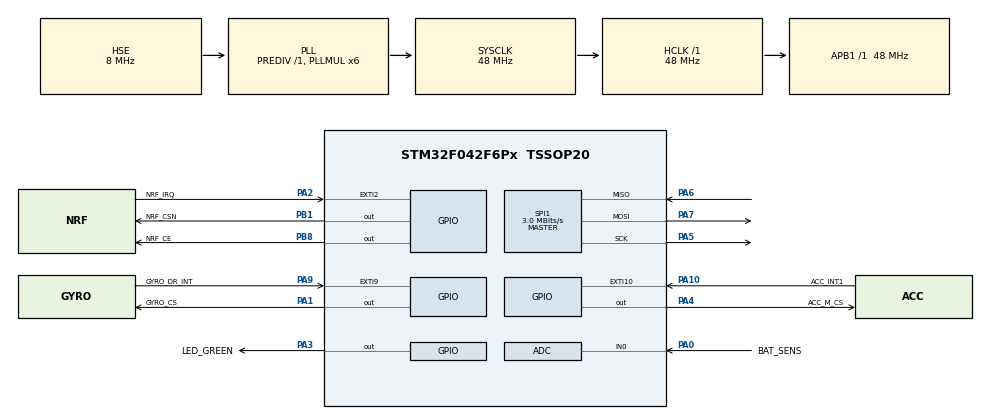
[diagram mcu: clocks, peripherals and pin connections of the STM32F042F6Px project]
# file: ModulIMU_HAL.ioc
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ADC.ClockPrescaler=ADC_CLOCK_ASYNC_DIV1
ADC.ContinuousConvMode=ENABLE
ADC.DMAContinuousRequests=ENABLE
ADC.DataAlign=ADC_DATAALIGN_RIGHT
ADC.DiscontinuousConvMode=DISABLE
ADC.EOCSelection=ADC_EOC_SINGLE_CONV
ADC.EnableAnalogWatchDog=false
ADC.ExternalTrigConvEdge=ADC_EXTERNALTRIGCONVEDGE_NONE
ADC.LowPowerAutoPowerOff=DISABLE
ADC.LowPowerAutoWait=DISABLE
ADC.Overrun=ADC_OVR_DATA_PRESERVED
ADC.Resolution=ADC_RESOLUTION_12B
ADC.SamplingTime=ADC_SAMPLETIME_239CYCLES_5
ADC.ScanConvMode=ADC_SCAN_DIRECTION_FORWARD
Dma.ADC.2.Direction=DMA_PERIPH_TO_MEMORY
Dma.ADC.2.Instance=DMA1_Channel1
Dma.ADC.2.MemDataAlignment=DMA_MDATAALIGN_HALFWORD
Dma.ADC.2.MemInc=DMA_MINC_ENABLE
Dma.ADC.2.Mode=DMA_CIRCULAR
Dma.ADC.2.PeriphDataAlignment=DMA_PDATAALIGN_HALFWORD
Dma.ADC.2.PeriphInc=DMA_PINC_DISABLE
Dma.ADC.2.Priority=DMA_PRIORITY_LOW
Dma.Request0=SPI1_RX
Dma.Request1=SPI1_TX
Dma.Request2=ADC
Dma.SPI1_RX.0.Direction=DMA_PERIPH_TO_MEMORY
Dma.SPI1_RX.0.Instance=DMA1_Channel2
Dma.SPI1_RX.0.MemDataAlignment=DMA_MDATAALIGN_BYTE
Dma.SPI1_RX.0.MemInc=DMA_MINC_ENABLE
Dma.SPI1_RX.0.Mode=DMA_NORMAL
Dma.SPI1_RX.0.PeriphDataAlignment=DMA_PDATAALIGN_BYTE
Dma.SPI1_RX.0.PeriphInc=DMA_PINC_DISABLE
Dma.SPI1_RX.0.Priority=DMA_PRIORITY_LOW
Dma.SPI1_TX.1.Direction=DMA_MEMORY_TO_PERIPH
Dma.SPI1_TX.1.Instance=DMA1_Channel3
Dma.SPI1_TX.1.MemDataAlignment=DMA_MDATAALIGN_BYTE
Dma.SPI1_TX.1.MemInc=DMA_MINC_ENABLE
Dma.SPI1_TX.1.Mode=DMA_NORMAL
Dma.SPI1_TX.1.PeriphDataAlignment=DMA_PDATAALIGN_BYTE
Dma.SPI1_TX.1.PeriphInc=DMA_PINC_DISABLE
Dma.SPI1_TX.1.Priority=DMA_PRIORITY_LOW
Mcu.Family=STM32F0
Mcu.Name=STM32F042F6Px
Mcu.Package=TSSOP20
NVIC.DMA1_Channel1_IRQn=true\:0\:0\:false\:false\:true
NVIC.DMA1_Channel2_3_IRQn=true\:0\:0\:false\:false\:true
NVIC.EXTI2_3_IRQn=true\:0\:0\:false\:false\:true
NVIC.EXTI4_15_IRQn=true\:0\:0\:false\:false\:true
NVIC.TIM17_IRQn=true\:0\:0\:false\:false\:true
PA0.GPIO_Label=BAT_SENS
PA0.Mode=IN0
PA0.Signal=ADC_IN0
PA1.GPIO_Label=GYRO_CS
PA1.GPIO_Speed=GPIO_SPEED_FREQ_HIGH
PA1.Signal=GPIO_Output
PA10.GPIO_Label=ACC_INT1
PA10.Signal=GPXTI10
PA13.Mode=Serial_Wire
PA13.Signal=SYS_SWDIO
PA14.Mode=Serial_Wire
PA14.Signal=SYS_SWCLK
PA2.GPIO_Label=NRF_IRQ
PA2.Signal=GPXTI2
PA3.GPIO_Label=LED_GREEN
PA3.Signal=GPIO_Output
PA4.GPIO_Label=ACC_M_CS
PA4.GPIO_Speed=GPIO_SPEED_FREQ_HIGH
PA4.Signal=GPIO_Output
PA5.Mode=Full_Duplex_Master
PA5.Signal=SPI1_SCK
PA6.Mode=Full_Duplex_Master
PA6.Signal=SPI1_MISO
PA7.Mode=Full_Duplex_Master
PA7.Signal=SPI1_MOSI
PA9.GPIO_Label=GYRO_DR_INT
PA9.Signal=GPXTI9
PB1.GPIO_Label=NRF_CSN
PB1.GPIO_Speed=GPIO_SPEED_FREQ_HIGH
PB1.Signal=GPIO_Output
PB8.GPIO_Label=NRF_CE
PB8.Signal=GPIO_Output
PF0-OSC_IN.Mode=HSE-External-Oscillator
PF0-OSC_IN.Signal=RCC_OSC_IN
PF1-OSC_OUT.Mode=HSE-External-Oscillator
PF1-OSC_OUT.Signal=RCC_OSC_OUT
ProjectManager.HeapSize=0x200
ProjectManager.StackSize=0x400
ProjectManager.TargetToolchain=SW4STM32
RCC.AHBFreq_Value=48000000
RCC.APB1Freq_Value=48000000
RCC.APB1TimFreq_Value=48000000
RCC.HCLKFreq_Value=48000000
RCC.HSIState=RCC_HSI_ON
RCC.PLLMUL=RCC_PLL_MUL6
RCC.PLLSourceVirtual=RCC_PLLSOURCE_HSE
RCC.SYSCLKFreq_VALUE=48000000
RCC.SYSCLKSource=RCC_SYSCLKSOURCE_PLLCLK
SPI1.BaudRatePrescaler=SPI_BAUDRATEPRESCALER_16
SPI1.CLKPolarity=SPI_POLARITY_LOW
SPI1.CalculateBaudRate=3.0 MBits/s
SPI1.DataSize=SPI_DATASIZE_8BIT
SPI1.Mode=SPI_MODE_MASTER
SPI1.NSSPMode=SPI_NSS_PULSE_DISABLE
TIM17.Period=10000
TIM17.Prescaler=47
VP_TIM17_VS_ClockSourceINT.Mode=Enable_Timer
board=ModulIMU_HAL

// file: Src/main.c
/**
  ******************************************************************************
  * File Name          : main.c
  * Description        : Main program body
  ******************************************************************************
  *
  * COPYRIGHT(c) 2016 STMicroelectronics
  *
  * Redistribution and use in source and binary forms, with or without modification,
  * are permitted provided that the following conditions are met:
  *   1. Redistributions of source code must retain the above copyright notice,
  *      this list of conditions and the following disclaimer.
  *   2. Redistributions in binary form must reproduce the above copyright notice,
  *      this list of conditions and the following disclaimer in the documentation
  *      and/or other materials provided with the distribution.
  *   3. Neither the name of STMicroelectronics nor the names of its contributors
  *      may be used to endorse or promote products derived from this software
  *      without specific prior written permission.
  *
  * THIS SOFTWARE IS PROVIDED BY THE COPYRIGHT HOLDERS AND CONTRIBUTORS "AS IS"
  * AND ANY EXPRESS OR IMPLIED WARRANTIES, INCLUDING, BUT NOT LIMITED TO, THE
  * IMPLIED WARRANTIES OF MERCHANTABILITY AND FITNESS FOR A PARTICULAR PURPOSE ARE
  * DISCLAIMED. IN NO EVENT SHALL THE COPYRIGHT HOLDER OR CONTRIBUTORS BE LIABLE
  * FOR ANY DIRECT, INDIRECT, INCIDENTAL, SPECIAL, EXEMPLARY, OR CONSEQUENTIAL
  * DAMAGES (INCLUDING, BUT NOT LIMITED TO, PROCUREMENT OF SUBSTITUTE GOODS OR
  * SERVICES; LOSS OF USE, DATA, OR PROFITS; OR BUSINESS INTERRUPTION) HOWEVER
  * CAUSED AND ON ANY THEORY OF LIABILITY, WHETHER IN CONTRACT, STRICT LIABILITY,
  * OR TORT (INCLUDING NEGLIGENCE OR OTHERWISE) ARISING IN ANY WAY OUT OF THE USE
  * OF THIS SOFTWARE, EVEN IF ADVISED OF THE POSSIBILITY OF SUCH DAMAGE.
  *
  ******************************************************************************
  */
#include "main.h"
#include "stm32f0xx_hal.h"
#include "adc.h"
#include "dma.h"
#include "spi.h"
#include "tim.h"
#include "gpio.h"

/* USER CODE BEGIN Includes */
#include "radio.h"
/* USER CODE END Includes */

/* USER CODE BEGIN PV */
/* Private variables ---------------------------------------------------------*/

/* USER CODE END PV */

void SystemClock_Config(void);
void Error_Handler(void);

/* USER CODE BEGIN PFP */
/* Private function prototypes -----------------------------------------------*/

/* USER CODE END PFP */

/* USER CODE BEGIN 0 */
uint32_t battery;
/* USER CODE END 0 */

int main(void)
{

  /* MCU Configuration----------------------------------------------------------*/

  /* Reset of all peripherals, Initializes the Flash interface and the Systick. */
  HAL_Init();

  /* Configure the system clock */
  SystemClock_Config();

  /* Initialize all configured peripherals */
  MX_GPIO_Init();
  MX_DMA_Init();
  MX_SPI1_Init();
  MX_TIM17_Init();
  MX_ADC_Init();

  /* USER CODE BEGIN 2 */
  ce(LOW);
  csn(HIGH);
  HAL_GPIO_WritePin(GYRO_CS_GPIO_Port, GYRO_CS_Pin, GPIO_PIN_SET);
  HAL_GPIO_WritePin(ACC_M_CS_GPIO_Port, ACC_M_CS_Pin, GPIO_PIN_SET);
  HAL_ADC_Start_DMA(&hadc, &battery, 1);
  HAL_TIM_Base_Start_IT(&htim17);
  uint8_t ret = readRadioRegister(STATUS);
  uint8_t address[10] = {0};
  initRadio();
  initRadio();
  stopListening();
  uint8_t data[]= {1,2,3,4,5,6,7,8};
  /* USER CODE END 2 */

  /* Infinite loop */
  /* USER CODE BEGIN WHILE */
  while (1)
  {
//	  uint8_t ret = readRadioRegister(STATUS);
	  startWrite(data, 8);
	  delayMicroseconds(1000000);
//	  ret = readRadioRegister(STATUS);
//	  readRadioRegisters(TX_ADDR, address, 8);

  /* USER CODE END WHILE */

  }

}

/** System Clock Configuration
*/
void SystemClock_Config(void)
{

  RCC_OscInitTypeDef RCC_OscInitStruct;
  RCC_ClkInitTypeDef RCC_ClkInitStruct;

    /**Initializes the CPU, AHB and APB busses clocks
    */
  RCC_OscInitStruct.OscillatorType = RCC_OSCILLATORTYPE_HSI14|RCC_OSCILLATORTYPE_HSE;
  RCC_OscInitStruct.HSEState = RCC_HSE_ON;
  RCC_OscInitStruct.HSIState = RCC_HSI_ON;
  RCC_OscInitStruct.HSI14State = RCC_HSI14_ON;
  RCC_OscInitStruct.HSI14CalibrationValue = 16;
  RCC_OscInitStruct.PLL.PLLState = RCC_PLL_ON;
  RCC_OscInitStruct.PLL.PLLSource = RCC_PLLSOURCE_HSE;
  RCC_OscInitStruct.PLL.PLLMUL = RCC_PLL_MUL6;
  RCC_OscInitStruct.PLL.PREDIV = RCC_PREDIV_DIV1;
  if (HAL_RCC_OscConfig(&RCC_OscInitStruct) != HAL_OK)
  {
    Error_Handler();
  }

    /**Initializes the CPU, AHB and APB busses clocks
    */
  RCC_ClkInitStruct.ClockType = RCC_CLOCKTYPE_HCLK|RCC_CLOCKTYPE_SYSCLK
                              |RCC_CLOCKTYPE_PCLK1;
  RCC_ClkInitStruct.SYSCLKSource = RCC_SYSCLKSOURCE_PLLCLK;
  RCC_ClkInitStruct.AHBCLKDivider = RCC_SYSCLK_DIV1;
  RCC_ClkInitStruct.APB1CLKDivider = RCC_HCLK_DIV1;

  if (HAL_RCC_ClockConfig(&RCC_ClkInitStruct, FLASH_LATENCY_1) != HAL_OK)
  {
    Error_Handler();
  }

    /**Configure the Systick interrupt time
    */
  HAL_SYSTICK_Config(HAL_RCC_GetHCLKFreq()/1000);

    /**Configure the Systick
    */
  HAL_SYSTICK_CLKSourceConfig(SYSTICK_CLKSOURCE_HCLK);

  /* SysTick_IRQn interrupt configuration */
  HAL_NVIC_SetPriority(SysTick_IRQn, 0, 0);
}

void Error_Handler(void)
{
  while(1)
  {
  }
}

/************************ (C) COPYRIGHT STMicroelectronics *****END OF FILE****/
